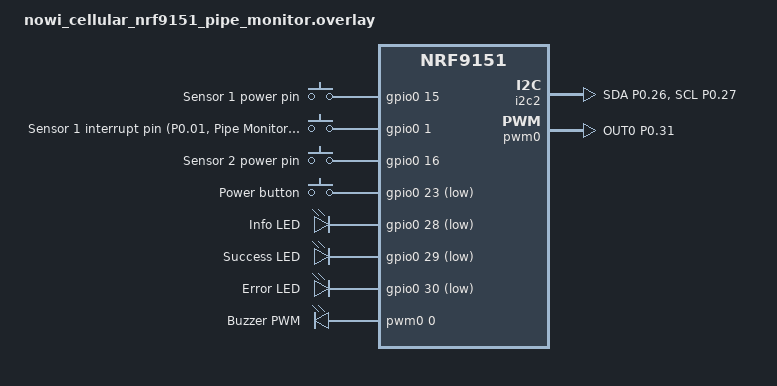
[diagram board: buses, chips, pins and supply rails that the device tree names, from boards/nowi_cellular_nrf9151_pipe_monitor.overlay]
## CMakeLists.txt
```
#
# Copyright (c) NOWi Sensors LLC 2024s
##

cmake_minimum_required(VERSION 3.20.0)

if (WIN32)
  set(CMAKE_OBJECT_PATH_MAX 260)
endif ()

find_package(Zephyr REQUIRED HINTS $ENV{ZEPHYR_BASE})
project(cell_monitor)

if(CONFIG_ALGORITHM_LOGGING)
else()
    add_definitions(-DDISABLE_LOGGING)
endif()

# NORDIC SDK APP START
zephyr_include_directories(boards)
zephyr_include_directories(src/cloud)
zephyr_include_directories(src/wdt)
zephyr_include_directories(src/buzzer)
zephyr_include_directories(src/twi)
zephyr_include_directories(src/led)
zephyr_include_directories(src/algorithm)
zephyr_include_directories(src/utils)
zephyr_include_directories(src/algorithm/building-monitor-algorithm/algorithm)
zephyr_include_directories(src/algorithm/building-monitor-algorithm/algorithm/utilities)
zephyr_include_directories(src/algorithm/building-monitor-algorithm/drivers)
zephyr_include_directories(src/algorithm/building-monitor-algorithm/drivers/lis2mdl)
zephyr_include_directories(src/algorithm/building-monitor-algorithm/filters)
zephyr_include_directories(src/algorithm/building-monitor-algorithm/interfaces)

if(CONFIG_ADD_CLAIM_CERTIFICATES)
    zephyr_include_directories(certs)
endif()

if(CONFIG_PROVISIONING)
    zephyr_include_directories(src/at_handler)
endif()

target_sources(app PRIVATE src/main.c)
target_sources(app PRIVATE src/led/led_manager.c)
target_sources(app PRIVATE src/button_manager.c)
target_sources(app PRIVATE src/cloud/cloud.c)
target_sources(app PRIVATE src/cloud/codec.c)
target_sources(app PRIVATE src/wdt/wdt.c)
target_sources(app PRIVATE src/buzzer/buzzer.c)
target_sources(app PRIVATE src/interaction_manager.c)

target_sources(app PRIVATE src/twi/twi_driver.c)
target_sources(app PRIVATE src/algorithm/app.c)
target_sources(app PRIVATE src/algorithm/hw.c)
target_sources(app PRIVATE src/algorithm/flash_utility.c)
target_sources(app PRIVATE src/algorithm/error_handler.c)

target_sources(app PRIVATE src/algorithm/log_handler.c)
target_sources(app PRIVATE src/algorithm/building-monitor-algorithm/algorithm/utilities/axis_configuration_utility.c)
target_sources(app PRIVATE src/algorithm/building-monitor-algorithm/algorithm/utilities/communication_monitor.c)
target_sources(app PRIVATE src/algorithm/building-monitor-algorithm/algorithm/utilities/cycle_counter.c)
target_sources(app PRIVATE src/algorithm/building-monitor-algorithm/algorithm/utilities/lowest_flow_over_period_tracker.c)
target_sources(app PRIVATE src/algorithm/building-monitor-algorithm/algorithm/utilities/magnetometer_controller.c)
target_sources(app PRIVATE src/algorithm/building-monitor-algorithm/algorithm/utilities/noise_monitor.c)
target_sources(app PRIVATE src/algorithm/building-monitor-algorithm/algorithm/utilities/signal_history.c)
target_sources(app PRIVATE src/algorithm/building-monitor-algorithm/algorithm/utilities/timeServer.c)


# Add simulated or real magnetometer driver files based on config
if(CONFIG_SIMULATED_MAG)
    add_definitions(-DUSE_MAGNETOMETER -DSIMULATED_MAG)
    zephyr_include_directories(src/algorithm/building-monitor-algorithm/tests/mocked)
    zephyr_include_directories(src/algorithm/building-monitor-algorithm/tests/mocked/drivers)
    target_sources(app PRIVATE src/algorithm/building-monitor-algorithm/tests/mocked/drivers/magnetometer.c)
    target_sources(app PRIVATE src/algorithm/building-monitor-algorithm/tests/mocked/drivers/simulated_MAG_driver_HL.c)
    target_sources(app PRIVATE src/algorithm/building-monitor-algorithm/tests/mocked/signal.c)
    target_sources(app PRIVATE src/algorithm/building-monitor-algorithm/tests/mocked/hw_gpio.c)
else()
    add_definitions(-DUSE_MAGNETOMETER -DLIS2MDL)
    target_sources(app PRIVATE src/algorithm/hw_gpio.c)
    target_sources(app PRIVATE src/algorithm/magnetometer.c)
    target_sources(app PRIVATE src/algorithm/building-monitor-algorithm/drivers/lis2mdl/LIS2MDL_MAG_driver.c)
    target_sources(app PRIVATE src/algorithm/building-monitor-algorithm/drivers/lis2mdl/LIS2MDL_MAG_driver_HL.c)    
endif()

target_sources(app PRIVATE src/algorithm/building-monitor-algorithm/filters/so_hpf.c)

# Always add pulse tracker and sensus protocol algorithms
target_sources(app PRIVATE src/algorithm/building-monitor-algorithm/algorithm/pulse_tracker.c)
target_sources(app PRIVATE src/algorithm/building-monitor-algorithm/algorithm/sensus_protocol_app.c)

if(CONFIG_ALGORITHM STREQUAL "LOGGER")
    add_definitions(-DDALGORITHM_LOGGER)
    target_sources(app PRIVATE src/algorithm/building-monitor-algorithm/algorithm/logger_algorithm.c)
elseif(CONFIG_ALGORITHM STREQUAL "MIN_MAX")
    add_definitions(-DALGORITHM_MIN_MAX)
    target_sources(app PRIVATE src/algorithm/building-monitor-algorithm/algorithm/cycle_tracker.c)
elseif(CONFIG_ALGORITHM STREQUAL "ALGORITHM_DO_NOTHING")
    add_definitions(-DALGORITHM_DO_NOTHING)
    target_sources(app PRIVATE src/algorithm/building-monitor-algorithm/algorithm/do_nothing_algorithm.c)
else()
    add_definitions(-DALGORITHM_FOLLOWER)
    target_sources(app PRIVATE src/algorithm/building-monitor-algorithm/algorithm/follower_algorithm.c)
endif()


# Note that here, we're adding CMAKE_SOURCE_DIR to the include path for nanopb.
# This is needed because the below call to nanopb_generate_cpp() is using
# 'RELPATH .'
#set(NANOPB_OPTIONS "-I${CMAKE_SOURCE_DIR}")
#nanopb_generate_cpp(proto_sources proto_headers RELPATH .
#    src/protobuf/msg.proto
#)
# we need to be able to include generated header files
###zephyr_library_include_directories(${CMAKE_CURRENT_BINARY_DIR})

list(APPEND CMAKE_MODULE_PATH ${ZEPHYR_BASE}/modules/nanopb)
include(nanopb)

zephyr_nanopb_sources(app src/protobuf/msg.proto)

FILE(GLOB app_sources src/*.c)
target_sources(app PRIVATE ${app_sources})

# NORDIC SDK APP END

zephyr_include_directories(src)
```

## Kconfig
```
#
# Copyright (c) 2020 Nordic Semiconductor ASA
#
# SPDX-License-Identifier: LicenseRef-Nordic-5-Clause
#

source "Kconfig.zephyr"

menu "cell building monitor"

config APP_VERSION
	string "Application version"
	default "v0.0.0"

config ALGORITHM
	string "The algorithm to use MIN_MAX, LOGGER, PULSE_TRACKER"
	default "FOLLOWER"

config ALGORITHM_LOGGING
	bool "Enable algorithm logging"
	default n

config USE_MAGNETOMETER
	bool "Use magnetometer instead of pulse counter to read a water meter"
	default y

config SEND_LOWEST_DATA
	bool "Send lowest data to cloud, such as low data period and rate, it's not very helpful in minute by minute data"
	default n

config AWS_IOT_APP_CONNECTION_RETRY_TIMEOUT_SECONDS
	int "Number of seconds between each AWS IoT connection retry"
	default 30

config AWS_IOT_APP_DEVICE_ID_USE_HW_ID
	bool "Use HW ID as device ID"
	select HW_ID_LIBRARY
	help
	  Use the devices's hardware ID as device ID when connecting to AWS IOT

config WDT_MAX_WINDOW_MS
	int "Watchdog maximum window in milliseconds"
	default 100000

config WDT_MIN_WINDOW_MS
	int "Watchdog minimum window in milliseconds"
	default 0

config MIN_UPLOAD_DUTY_CYCLE_SECONDS
	int "Minimum upload duty cycle in seconds"
	default 60

config DEFAULT_UPLOAD_DUTY_CYCLE_SECONDS
	int "default upload duty cycle in seconds"
	default 60

config MIN_APP_DUTY_CYCLE_SECONDS
	int "Minimum app duty cycle in seconds"
	default 60

config MAX_PACKETS_PER_UPLINK_MESSAGE
	int "Maximum packets per uplink message"
	default 60
	help
		At 120 Encoding failed: stream full

config MAX_ALERTS_PER_UPLINK_MESSAGE
	int "Maximum alerts per uplink message"
	default 11

config ALERT_MSG_MAX_SIZE
	int "Alert packet data array maximum size, Maximum 4 int16_t values can fit in int64_t"
	default 4

config FW_ID_LEN
	int "Firmware ID length"
	default 16

config MAX_DEV_ID_LEN
	int "Maximum device ID length"
	default 20

config PROVIS_REQUEST_RETRY_TIMEOUT_SECONDS
	int "Provisioning request send retry timeout in seconds"
	default 60

config RECONNECTION_TIMER_TIMEOUT_MINUTES
	int "Connection timer in minutes before it forces a reconnect, should be less than CONNECTION_TIMER_TIMEOUT_HOURS"
	default 360

config CONNECTION_TIMER_TIMEOUT_HOURS
	int "Connection timer timemout in hours before reboot"
	default 24

config TESTING_DISABLE_MODEM
	bool "Disable modem for testing witout it, this should never be used for production"
	default n

config ENABLE_TWI_SCAN
	bool "Enable TWI scan"
	default n

config APP_LOG_LEVEL
	int "Application log level"
	default 3
	help
	  0 - off
	  1 - error
	  2 - warning
	  3 - info
	  4 - debug

config ADD_CLAIM_CERTIFICATES
	bool "Add default claim certificates, only used for initial commissioning"
	default n

config SIMULATED_MAG
	bool "Use simulated magnetometer instead of real hardware"
	depends on USE_MAGNETOMETER
	default n
	help
	  Enable this to use a simulated magnetometer for testing purposes

config PROVISIONING
	bool "Enable provisioning"
	default n
	help
	  Enable this to enable provisioning

config PIPE_MONITOR_BOARD
	bool "Pipe monitor board"
	default n
	help
	  Enable this to use a pipe monitor board. Forces use of pulse tracker algorithm.

endmenu
```

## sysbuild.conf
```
# Enable MCUboot bootloader for FOTA support
SB_CONFIG_BOOTLOADER_MCUBOOT=y

# Optional: Enable secure boot when ready for production
# SB_CONFIG_SECURE_BOOT=y
# SB_CONFIG_SB_SIGNING_KEY_FILE="keys/nsib-prod-ec256.pem"
```

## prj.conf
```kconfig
#
# Copyright (c) 2020 Nordic Semiconductor ASA
#
# SPDX-License-Identifier: LicenseRef-Nordic-5-Clause

CONFIG_APP_VERSION="v3.1.0"
# CONFIG_ALGORITHM="FOLLOWER"

# AT Host
CONFIG_UART_INTERRUPT_DRIVEN=y 
CONFIG_AT_HOST_LIBRARY=y

# Log
CONFIG_LOG=y
CONFIG_SERIAL=y
CONFIG_CONSOLE=y
CONFIG_UART_CONSOLE=y
CONFIG_LOG_MODE_IMMEDIATE=y

# NEWLIB C
CONFIG_NEWLIB_LIBC=y
CONFIG_NEWLIB_LIBC_FLOAT_PRINTF=y
CONFIG_STDOUT_CONSOLE=y
CONFIG_CBPRINTF_FP_SUPPORT=y

# Network
CONFIG_NETWORKING=y
CONFIG_NET_NATIVE=n

# LTE link control
CONFIG_LTE_LINK_CONTROL=y
CONFIG_LTE_NETWORK_MODE_LTE_M=y
# Enable PSM and eDRX modules (required for NCS 3.0+)
CONFIG_LTE_LC_PSM_MODULE=y
CONFIG_LTE_LC_EDRX_MODULE=y
## Power saving timers.
# https://www.etsi.org/deliver/etsi_ts/127000_127099/127007/15.02.00_60/ts_127007v150200p.pdf page 102, 7.38 Power saving mode setting +CPSMS 
### 320 hours PSM. https://www.etsi.org/deliver/etsi_ts/124000_124099/124008/13.07.00_60/ts_124008v130700p.pdf  page 669, 10.5.7.4a GPRS Timer 3 
CONFIG_LTE_PSM_REQ=y
CONFIG_LTE_PSM_REQ_RPTAU="11000001"
### 20 seconds active time. https://www.etsi.org/deliver/etsi_ts/124000_124099/124008/13.07.00_60/ts_124008v130700p.pdf page 668, 10.5.7.3 GPRS Timer
CONFIG_LTE_PSM_REQ_RAT="00001010"
# The network seem to accept them too.
#+CEREG: <stat>[,[<tac>],[<ci>],[<AcT>][,[<cause_type>],[<reject_cause>][,[<Active-Time>],[<Periodic-TAU-ext>]]]] (https://infocenter.nordicsemi.com/index.jsp?topic=%2Fref_at_commands%2FREF%2Fat_commands%2Fnw_service%2Fcereg_read.html)
#+CEREG: 5,"800D","07530B0F",7,,,"00001010","11000001"
#[00:00:04.349,639] <inf> cloud: Network registration status: Connected - roaming
#[00:00:04.358,123] <inf> cloud: PSM parameter update: TAU: 1152000, Active time: 20
# Proprietary PSM request. only works with firmware < v2.0.0. Only works if PSM_REQ is also enabled. Works if normal PSM isn't enabled by the network.
# REMOVED for NCS 3.1.0: Proprietary PSM deprecated for modem firmware >= 2.0.0
# CONFIG_LTE_PROPRIETARY_PSM_REQ=y

# eDRX can reduce power consumption when PSM is disabled by the network
CONFIG_LTE_EDRX_REQ=y

# Modem library
# Modem driver
CONFIG_MODEM=y
CONFIG_NRF_MODEM_LIB=y
CONFIG_MODEM_KEY_MGMT=y

# AWS IoT library
CONFIG_AWS_IOT=y
CONFIG_AWS_IOT_APP_DEVICE_ID_USE_HW_ID=y
CONFIG_AWS_IOT_BROKER_HOST_NAME="a3tqlxqi8kjz1z-ats.iot.us-east-1.amazonaws.com"
CONFIG_MQTT_HELPER_SEC_TAG=204
CONFIG_AWS_FOTA_DOWNLOAD_SECURITY_TAG=204
# Request the shadow upon a connection to AWS. Sends a shadow request every time which is not needed
# CONFIG_AWS_IOT_AUTO_DEVICE_SHADOW_REQUEST=y 
CONFIG_AWS_IOT_TOPIC_UPDATE_DELTA_SUBSCRIBE=y
CONFIG_MQTT_HELPER_LAST_WILL=y
CONFIG_AWS_IOT_TOPIC_GET_ACCEPTED_SUBSCRIBE=n
CONFIG_AWS_IOT_TOPIC_GET_REJECTED_SUBSCRIBE=n
CONFIG_MQTT_HELPER_RX_TX_BUFFER_SIZE=2048
CONFIG_AWS_IOT_LOG_LEVEL_OFF=y
# Default is 30 second but it blocks the algorithm 
CONFIG_AWS_IOT_CONNECT_TIMEOUT_SECONDS=30

# MQTT - Maximum MQTT keep alive timeout specified by AWS IoT Core is 1200 anything higher just disconnects
CONFIG_MQTT_KEEPALIVE=1200
# Do not clean session, so the device gets the downlinks after a reconnect
CONFIG_MQTT_CLEAN_SESSION=n

# Date Time library
CONFIG_DATE_TIME=y

# Modem information
CONFIG_MODEM_INFO=y
CONFIG_BUILD_WITH_TFM=y

# MCUBOOT
CONFIG_BOOTLOADER_MCUBOOT=y
CONFIG_MCUBOOT_IMG_MANAGER=y

# Image manager
CONFIG_IMG_MANAGER=y
CONFIG_STREAM_FLASH=y
CONFIG_FLASH_MAP=y
CONFIG_FLASH=y
CONFIG_IMG_ERASE_PROGRESSIVELY=y

# AWS FOTA
CONFIG_AWS_FOTA=y
CONFIG_FOTA_DOWNLOAD=y
CONFIG_DFU_TARGET=y

# CJSON
CONFIG_CJSON_LIB=y

# ProtoBuf
CONFIG_NANOPB=y

# Download client (needed by AWS FOTA)
# NCS 3.0+ uses DOWNLOADER instead of deprecated DOWNLOAD_CLIENT
CONFIG_DOWNLOADER=y
# CONFIG_DOWNLOAD_CLIENT is deprecated in NCS 3.0+
# CONFIG_DOWNLOAD_CLIENT=n
# CONFIG_DOWNLOAD_CLIENT_STACK_SIZE=4096

# SENSOR
CONFIG_I2C=y
CONFIG_I2C_LOG_LEVEL_OFF=y
# BUZZER
CONFIG_PWM=y

# PM
CONFIG_PM_DEVICE=y

# WDT
CONFIG_WATCHDOG=y
CONFIG_WDT_DISABLE_AT_BOOT=y
CONFIG_WDT_LOG_LEVEL_OFF=y

# NVS
CONFIG_NVS=y
CONFIG_FLASH_PAGE_LAYOUT=y
CONFIG_MPU_ALLOW_FLASH_WRITE=y
CONFIG_NVS_LOG_LEVEL_OFF=y

# Settings backend - NCS 3.0+ uses NVS directly instead of ZMS legacy
# Using NVS as the settings backend
CONFIG_SETTINGS=y
CONFIG_SETTINGS_NVS=y

# Disabling unused peripherals
CONFIG_SPI=n
CONFIG_ADC=n

# Heap and stacks
CONFIG_HEAP_MEM_POOL_SIZE=65536
CONFIG_MAIN_STACK_SIZE=32768

# increased 2560 -> 5120 because we were at about 90% usage
CONFIG_MQTT_HELPER_STACK_SIZE=5120
# increased 2048 -> 3000 -> 10000 because it overflows (now at ~60%)
CONFIG_SYSTEM_WORKQUEUE_STACK_SIZE=10000
CONFIG_AT_MONITOR_HEAP_SIZE=1024
# increase because we were over 90% usage
CONFIG_DATE_TIME_THREAD_STACK_SIZE=2000

CONFIG_NCS_SAMPLES_DEFAULTS=y
```

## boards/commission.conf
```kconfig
CONFIG_ALGORITHM="ALGORITHM_DO_NOTHING"
CONFIG_ADD_CLAIM_CERTIFICATES=y

CONFIG_PROVISIONING=y
# Enable custom AT commands to set device ID and provisioning state
CONFIG_AT_CMD_CUSTOM=y

# Log
CONFIG_LOG=y
# Set log level to info
CONFIG_LOG_DEFAULT_LEVEL=3
CONFIG_CONSOLE=y
CONFIG_SERIAL=y
CONFIG_UART_CONSOLE=y
CONFIG_ALGORITHM_LOGGING=n
CONFIG_AWS_IOT_LOG_LEVEL_DBG=n
CONFIG_MQTT_HELPER_LOG_LEVEL_DBG=n

# AT Host
CONFIG_UART_INTERRUPT_DRIVEN=y
CONFIG_AT_HOST_LIBRARY=y
```

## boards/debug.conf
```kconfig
# Log
CONFIG_LOG=y
CONFIG_LOG_DEFAULT_LEVEL=3
CONFIG_CONSOLE=y
CONFIG_SERIAL=y
CONFIG_UART_CONSOLE=y
CONFIG_ALGORITHM_LOGGING=y
CONFIG_AWS_IOT_LOG_LEVEL_DBG=y
CONFIG_MQTT_HELPER_LOG_LEVEL_DBG=y

CONFIG_AT_CMD_CUSTOM=y
CONFIG_TESTING_DISABLE_MODEM=n

# AT Host
CONFIG_UART_INTERRUPT_DRIVEN=y
CONFIG_AT_HOST_LIBRARY=y

# Debug
CONFIG_ASSERT=y
CONFIG_ASSERT_VERBOSE=y
CONFIG_RESET_ON_FATAL_ERROR=n
CONFIG_REBOOT=y

# if we want to 
# CONFIG_DEBUG=y
# CONFIG_WDT_LOG_LEVEL_OFF=n

# Thread analyzer
CONFIG_THREAD_NAME=y
# CONFIG_THREAD_ANALYZER=y
# CONFIG_THREAD_ANALYZER_AUTO=y
# CONFIG_THREAD_ANALYZER_USE_LOG=y
# CONFIG_THREAD_ANALYZER_AUTO_INTERVAL=30

# CONFIG_NRF_MODEM_LIB_TRACE=y

CONFIG_MODEM_BATTERY=y
CONFIG_MODEM_BATTERY_LOG_LEVEL_DBG=y
CONFIG_MODEM_BATTERY_POFWARN_3000=y
CONFIG_MODEM_BATTERY_LOW_LEVEL=3100
```

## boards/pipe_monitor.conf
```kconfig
# Pipe Monitor (Pulse Monitor) specific config
CONFIG_PIPE_MONITOR_BOARD=y

# System features
CONFIG_REBOOT=y

# No need for power saving when connected to an outlet
CONFIG_LTE_PSM_REQ=n
CONFIG_LTE_PROPRIETARY_PSM_REQ=n
CONFIG_LTE_EDRX_REQ=n

# # Disable FOTA/MCUboot for pipe monitor builds (no secondary partition)
# CONFIG_BOOTLOADER_MCUBOOT=n
# CONFIG_AWS_FOTA=n
# CONFIG_FOTA_DOWNLOAD=n
# CONFIG_DFU_TARGET=n
# CONFIG_MCUBOOT_IMG_MANAGER=n
# CONFIG_IMG_MANAGER=n
# CONFIG_STREAM_FLASH=n
# CONFIG_IMG_ERASE_PROGRESSIVELY=n
# CONFIG_FLASH_MAP=n

# Enable FOTA/MCUboot for OTA updates
CONFIG_BOOTLOADER_MCUBOOT=y
CONFIG_AWS_FOTA=y
CONFIG_FOTA_DOWNLOAD=y
CONFIG_DFU_TARGET=y
CONFIG_DFU_TARGET_MCUBOOT=y
CONFIG_MCUBOOT_IMG_MANAGER=y
CONFIG_IMG_MANAGER=y
CONFIG_STREAM_FLASH=y
CONFIG_IMG_ERASE_PROGRESSIVELY=y
CONFIG_FLASH_MAP=y
CONFIG_DOWNLOADER=y
```

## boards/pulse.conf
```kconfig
CONFIG_ALGORITHM="PULSE_TRACKER"
CONFIG_USE_MAGNETOMETER=n
```

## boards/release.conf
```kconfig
# Log
CONFIG_LOG=n
CONFIG_SERIAL=n
CONFIG_CONSOLE=n
CONFIG_RTT_CONSOLE=n
CONFIG_USE_SEGGER_RTT=n

# AT Host
CONFIG_UART_INTERRUPT_DRIVEN=n
CONFIG_AT_HOST_LIBRARY=n 
```

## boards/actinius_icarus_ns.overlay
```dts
&sim_select {
    sim = "external";
};

&lis2dh12_accel {
	status = "disabled";
};

&pinctrl {

	pwmbuzz {
		compatible = "pwm-leds";
		buzzpwm: buzz_pwm {
			pwms = <&pwm0 0 PWM_USEC(100U) PWM_POLARITY_NORMAL>;
		};
	};

	pwm0_buzz_default: pwm0_buzz_default {
		group1 {
			psels = <NRF_PSEL(PWM_OUT0, 0, 5)>;
			//nordic,invert;
		};
	};

	pwm0_buzz_sleep: pwm0_buzz_sleep {
		group1 {
			psels = <NRF_PSEL(PWM_OUT0, 0, 5)>;
			low-power-enable;
		};
	};

	i2c1_default_alt: i2c1_default_alt {
		group1 {
			nordic,drive-mode = <NRF_DRIVE_H0H1>;
			psels = <NRF_PSEL(TWIM_SDA, 0, 26)>,
					<NRF_PSEL(TWIM_SCL, 0, 27)>;
		};
	};

	i2c1_sleep_alt: i2c1_sleep_alt {
		group1 {
			nordic,drive-mode = <NRF_DRIVE_H0H1>;
			psels = <NRF_PSEL(TWIM_SDA, 0, 26)>,
					<NRF_PSEL(TWIM_SCL, 0, 27)>;
			low-power-enable;
		};
	};

	i2c2_default_alt: i2c2_default_alt {
		group1 {
			nordic,drive-mode = <NRF_DRIVE_H0H1>;
			psels = <NRF_PSEL(TWIM_SDA, 0, 30)>,
					<NRF_PSEL(TWIM_SCL, 0, 31)>;
		};
	};

	i2c2_sleep_alt: i2c2_sleep_alt {
		group1 {
			nordic,drive-mode = <NRF_DRIVE_H0H1>;
			psels = <NRF_PSEL(TWIM_SDA, 0, 30)>,
					<NRF_PSEL(TWIM_SCL, 0, 31)>;
			low-power-enable;
		};
	};
};

buzz_pwm_inst: &pwm0 {
	status = "okay";
	pinctrl-0 = <&pwm0_buzz_default>;
	pinctrl-1 = <&pwm0_buzz_sleep>;
	pinctrl-names = "default", "sleep";
};

mag1: &i2c1 {
	status = "okay";
	compatible = "nordic,nrf-twim";
	pinctrl-0 = <&i2c1_default_alt>;
	pinctrl-1 = <&i2c1_sleep_alt>;
	pinctrl-names = "default", "sleep";
    clock-frequency = < I2C_BITRATE_FAST >;
};

mag2: &i2c2 {
	status = "okay";
	compatible = "nordic,nrf-twim";
	pinctrl-0 = <&i2c2_default_alt>;
	pinctrl-1 = <&i2c2_sleep_alt>;
	pinctrl-names = "default", "sleep";
    clock-frequency = < I2C_BITRATE_FAST >;
};

/ {
	magnetometer {
		compatible = "gpio-keys";
		magpower: mag_power {
			gpios = <&gpio0 0 (GPIO_ACTIVE_HIGH)>;
			label = "sensor 1 power pin";
		};
		magint: mag_int {
			gpios = <&gpio0 2 (GPIO_ACTIVE_HIGH)>;
			label = "sensor 1 interrupt pin";
		};

		mag2power: mag2_power {
			gpios = <&gpio0 4 (GPIO_ACTIVE_HIGH)>;
			label = "sensor 2 power pin";
		};

		mag2int: mag2_int {
			gpios = <&gpio0 3 (GPIO_ACTIVE_HIGH)>;
			label = "sensor 2 interrupt pin";
		};
	};
	aliases {
		successled = &green_led;
		infoled = &blue_led;
		errorled = &red_led;
	};
	buttons {
		compatible = "gpio-keys";
		power_button: button_0 {
			gpios = <&gpio0 14 (GPIO_PULL_UP | GPIO_ACTIVE_LOW)>;
			label = "Power Button";
		};
	};
};

&uart1_default {
    group1 {
        psels = <NRF_PSEL(UART_TX, 0, 23)>;
    };
};

&uart1_default {
    group1 {
        psels = <NRF_PSEL(UART_TX, 0, 24)>;
    };
};

&uart1_default {
    group1 {
        psels = <NRF_PSEL(UART_TX, 0, 24)>, <NRF_PSEL(UART_RX, 0, 23)>;
    };
};

&uart1_default {
    group1 {
        psels = <NRF_PSEL(UART_TX, 0, 24)>;
    };
};

&uart1_default {
    group1 {
        psels = <NRF_PSEL(UART_TX, 0, 0)>;
    };
};

&uart1_default {
    group1 {
        psels = <NRF_PSEL(UART_TX, 0, 0)>, <NRF_PSEL(UART_RX, 0, 1)>;
    };
};
&uart0_default {
    group1 {
        psels = <NRF_PSEL(UART_TX, 0, 24)>, <NRF_PSEL(UART_RX, 0, 23)>;
        low-power-enable;
    };
};

&uart0_default {
    group1 {
        psels = <NRF_PSEL(UART_TX, 0, 24)>, <NRF_PSEL(UART_RX, 0, 23)>;
        /delete-property/ low-power-enable;
    };
};
```

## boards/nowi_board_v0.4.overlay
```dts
/{
  magnetometer {
		compatible = "gpio-keys";
		magpower: mag_power {
			gpios = <&gpio0 15 (GPIO_ACTIVE_HIGH)>;
			label = "Sensor 1 power pin";
		};
        mag2power: mag2_power {
			gpios = <&gpio0 16 (GPIO_ACTIVE_HIGH)>;
			label = "Sensor 2 power pin";
		};
	};
};
```

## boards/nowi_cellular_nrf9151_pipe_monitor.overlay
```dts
/ {
    magnetometer {
        compatible = "gpio-keys";
        magpower: mag_power {
            gpios = <&gpio0 15 (GPIO_ACTIVE_HIGH)>;
            label = "Sensor 1 power pin";
        };
        magint: mag_int {
            gpios = <&gpio0 1 (GPIO_ACTIVE_HIGH)>;
            label = "Sensor 1 interrupt pin (P0.01, Pipe Monitor). Used to be P0.02 for Building Monitor";
        };
        mag2power: mag2_power {
            gpios = <&gpio0 16 (GPIO_ACTIVE_HIGH)>;
            label = "Sensor 2 power pin";
        };
    };

    buttons {
        compatible = "gpio-keys";
        powerbutton: button_0 {
            gpios = <&gpio0 23 (GPIO_PULL_UP | GPIO_ACTIVE_LOW)>;
            label = "Power button";
        };
    };

    leds {
        compatible = "gpio-leds";
        led_info: led_0 {
            gpios = <&gpio0 28 GPIO_ACTIVE_LOW>;
            label = "Info LED";
        };
        led_success: led_1 {
            gpios = <&gpio0 29 GPIO_ACTIVE_LOW>;
            label = "Success LED";
        };
        led_error: led_2 {
            gpios = <&gpio0 30 GPIO_ACTIVE_LOW>;
            label = "Error LED";
        };
    };

    pwmleds {
        compatible = "pwm-leds";
        buzzpwm: pwm_led_0 {
            pwms = <&pwm0 0 PWM_MSEC(20) PWM_POLARITY_NORMAL>;
            label = "Buzzer PWM";
        };
    };

    aliases {
        power-button = &powerbutton;
        infoled = &led_info;
        successled = &led_success;
        errorled = &led_error;
        buzzpwm = &buzzpwm;
    };
};

mag1: &i2c2 {
    compatible = "nordic,nrf-twim";
    status = "okay";
    pinctrl-0 = <&i2c2_default>;
    pinctrl-1 = <&i2c2_sleep>;
    pinctrl-names = "default", "sleep";
};

&pinctrl {
    i2c2_default: i2c2_default {
        group1 {
            psels = <NRF_PSEL(TWIM_SDA, 0, 26)>,
                    <NRF_PSEL(TWIM_SCL, 0, 27)>;
        };
    };

    i2c2_sleep: i2c2_sleep {
        group1 {
            psels = <NRF_PSEL(TWIM_SDA, 0, 26)>,
                    <NRF_PSEL(TWIM_SCL, 0, 27)>;
            low-power-enable;
        };
    };

    pwm0_default: pwm0_default {
        group1 {
            psels = <NRF_PSEL(PWM_OUT0, 0, 31)>;
        };
    };

    pwm0_sleep: pwm0_sleep {
        group1 {
            psels = <NRF_PSEL(PWM_OUT0, 0, 31)>;
            low-power-enable;
        };
    };
};

&pwm0 {
    status = "okay";
    pinctrl-0 = <&pwm0_default>;
    pinctrl-1 = <&pwm0_sleep>;
    pinctrl-names = "default", "sleep";
}; 
```

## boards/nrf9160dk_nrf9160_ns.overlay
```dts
&pinctrl {

	pwmbuzz {
		compatible = "pwm-leds";
		buzzpwm: buzz_pwm {
			pwms = <&pwm0 0 PWM_HZ(880) PWM_POLARITY_NORMAL>;
		};
	};

	pwm0_buzz_default: pwm0_buzz_default {
		group1 {
			psels = <NRF_PSEL(PWM_OUT0, 0, 5)>;
			//nordic,invert;
		};
	};

	pwm0_buzz_sleep: pwm0_buzz_sleep {
		group1 {
			psels = <NRF_PSEL(PWM_OUT0, 0, 5)>;
			low-power-enable;
		};
	};

	i2c2_default_alt: i2c2_default_alt {
		group1 {
			nordic,drive-mode = <NRF_DRIVE_H0H1>;
			psels = <NRF_PSEL(TWIM_SDA, 0, 30)>,
					<NRF_PSEL(TWIM_SCL, 0, 31)>;
		};
	};

	i2c2_sleep_alt: i2c2_sleep_alt {
		group1 {
			nordic,drive-mode = <NRF_DRIVE_H0H1>;
			psels = <NRF_PSEL(TWIM_SDA, 0, 30)>,
					<NRF_PSEL(TWIM_SCL, 0, 31)>;
			low-power-enable;
		};
	};

	i2c1_default_alt: i2c1_default_alt {
		group1 {
			nordic,drive-mode = <NRF_DRIVE_H0H1>;
			psels = <NRF_PSEL(TWIM_SDA, 0, 26)>,
					<NRF_PSEL(TWIM_SCL, 0, 27)>;
		};
	};

	i2c1_sleep_alt: i2c1_sleep_alt {
		group1 {
			nordic,drive-mode = <NRF_DRIVE_H0H1>;
			psels = <NRF_PSEL(TWIM_SDA, 0, 27)>,
					<NRF_PSEL(TWIM_SCL, 0, 27)>;
			low-power-enable;
		};
	};
};

buzz_pwm_inst: &pwm0 {
	status = "okay";
	pinctrl-0 = <&pwm0_buzz_default>;
	pinctrl-1 = <&pwm0_buzz_sleep>;
	pinctrl-names = "default", "sleep";
};

mag2: &i2c2 {
	status = "disabled";
	compatible = "nordic,nrf-twim";
	pinctrl-0 = <&i2c2_default_alt>;
	pinctrl-1 = <&i2c2_sleep_alt>;
	pinctrl-names = "default", "sleep";
    clock-frequency = < I2C_BITRATE_FAST >;
};

mag1: &i2c3 {
	status = "okay";
	compatible = "nordic,nrf-twim";
	pinctrl-0 = <&i2c1_default_alt>;
	pinctrl-1 = <&i2c1_sleep_alt>;
	pinctrl-names = "default", "sleep";
    clock-frequency = < I2C_BITRATE_FAST >;
};

/ {
	magnetometer {
		compatible = "gpio-keys";
		magpower: mag_power {
			gpios = <&gpio0 0 (GPIO_ACTIVE_HIGH)>;
			label = "lis2mdl power pin";
		};
		magint: mag_int {
			gpios = <&gpio0 1 (GPIO_ACTIVE_HIGH)>;
			label = "lis2mdl int pin";
		};
		mag2power: mag2_power {
			gpios = <&gpio0 4 (GPIO_ACTIVE_HIGH)>;
			label = "sensor 2 power pin";
		};

		mag2int: mag2_int {
			gpios = <&gpio0 3 (GPIO_ACTIVE_HIGH)>;
			label = "sensor 2 interrupt pin";
		};
	};
	
	buttons {
		compatible = "gpio-keys";
		power_button: button_0 {
			gpios = <&gpio0 14 (GPIO_PULL_UP | GPIO_ACTIVE_LOW)>;
			label = "Power Button";
		};
	};
	
	aliases {
		successled = &led0;
		infoled = &led1;
		errorled = &led2;
		buzzer = &buzzpwm;
		power-button = &power_button;
	};
};
```

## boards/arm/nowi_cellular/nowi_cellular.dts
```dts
// Copyright (c) 2024 Nordic Semiconductor ASA
// SPDX-License-Identifier: Apache-2.0

/dts-v1/;
#include <nordic/nrf9160_sica.dtsi>
#include "nowi_cellular_common.dts"

/ {
	chosen {
		zephyr,sram = &sram0_s;
		zephyr,flash = &flash0;
		zephyr,code-partition = &slot0_partition;
		zephyr,sram-secure-partition = &sram0_s;
		zephyr,sram-non-secure-partition = &sram0_ns;
	};
};
```

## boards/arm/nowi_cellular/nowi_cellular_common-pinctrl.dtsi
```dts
/*
 * Copyright (c) 2022 Nordic Semiconductor
 * SPDX-License-Identifier: Apache-2.0
 */

 &pinctrl {
	uart0_default: uart0_default {
		group1 {
			psels = <NRF_PSEL(UART_TX, 0, 24)>,
					<NRF_PSEL(UART_RX, 0, 23)>;
		};
	};

	uart0_sleep: uart0_sleep {
		group1 {
			psels = <NRF_PSEL(UART_TX, 0, 24)>,
					<NRF_PSEL(UART_RX, 0, 23)>;
			low-power-enable;
		};
	};
	
	i2c1_default: i2c1_default {
		group1 {
			nordic,drive-mode = <NRF_DRIVE_H0H1>;
			psels = <NRF_PSEL(TWIM_SDA, 0, 26)>,
					<NRF_PSEL(TWIM_SCL, 0, 27)>;
		};
	};

	i2c1_sleep: i2c1_sleep {
		group1 {
			nordic,drive-mode = <NRF_DRIVE_H0H1>;
			psels = <NRF_PSEL(TWIM_SDA, 0, 26)>,
					<NRF_PSEL(TWIM_SCL, 0, 27)>;
			low-power-enable;
		};
	};

	i2c2_default: i2c2_default {
		group1 {
			nordic,drive-mode = <NRF_DRIVE_H0H1>;
			psels = <NRF_PSEL(TWIM_SDA, 0, 30)>,
					<NRF_PSEL(TWIM_SCL, 0, 31)>;
		};
	};

	i2c2_sleep: i2c2_sleep {
		group1 {
			nordic,drive-mode = <NRF_DRIVE_H0H1>;
			psels = <NRF_PSEL(TWIM_SDA, 0, 30)>,
					<NRF_PSEL(TWIM_SCL, 0, 31)>;
			low-power-enable;
		};
	};

	pwmbuzz {
		compatible = "pwm-leds";
		buzzpwm: buzz_pwm {
			pwms = <&pwm0 0 PWM_USEC(100U) PWM_POLARITY_NORMAL>;
		};
	};

	pwm0_buzz_default: pwm0_buzz_default {
		group1 {
			psels = <NRF_PSEL(PWM_OUT0, 0, 5)>;
			//nordic,invert;
		};
	};

	pwm0_buzz_sleep: pwm0_buzz_sleep {
		group1 {
			psels = <NRF_PSEL(PWM_OUT0, 0, 5)>;
			low-power-enable;
		};
	};
};
```

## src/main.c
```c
#include <zephyr/kernel.h>
#include <zephyr/drivers/hwinfo.h>
#include <zephyr/sys/reboot.h>
#include <stdio.h>
#include <stdbool.h>
#include <stdlib.h>

#include "app.h"
#include "cloud.h"
#include "error_handler.h"
#include "hw_id.h"
#include "led_manager.h"
#include "twi_driver.h"
#include "flash_utility.h"
#include "button_manager.h"
#include "buzzer.h"
#include "codec.h"
#include "interaction_manager.h"

#include <zephyr/logging/log.h>
#ifdef CONFIG_SIMULATED_MAG
#include "signal.h"
#endif

#include "log_handler.h"

LOG_MODULE_REGISTER(main, CONFIG_APP_LOG_LEVEL);

struct app_info_t app_info = {0};
char device_id[CONFIG_MAX_DEV_ID_LEN] = {0};
uint32_t reset_cause = 0;
bool is_provisioned = false;
bool device_enabled = true;

void button_enabled_device(void)
{
	LOG_INF("button_enabled_device");
	if (FlashUtility_SaveDeviceState(true) == FlashStatus_Success)
	{
		LOG_INF("Device state saved successfully");
	}
	else
	{
		LOG_ERR("Failed to save device state");
	}
	// Reboot for a fresh start
	sys_reboot(0);
}

void button_disabled_device(void)
{
	LOG_INF("button_disabled_device");
	if (FlashUtility_SaveDeviceState(false) == FlashStatus_Success)
	{
		LOG_INF("Device state saved successfully");
	}
	else
	{
		LOG_ERR("Failed to save device state");
	}
	// Reboot for a fresh start
	sys_reboot(0);
}

void enable_device(void)
{
	LOG_INF("enable_device");
	int err = 0;
	interaction_manager_device_enabled();
#ifdef CONFIG_TESTING_DISABLE_MODEM
	err = cloud_stop();
	if (err)
	{
		LOG_ERR("cloud_stop() failed, err 0x%x \n", err);
	}
#else
	LOG_INF("cloud_start");
	err = cloud_start();
	if (err)
	{
		LOG_ERR("cloud_start() failed, err 0x%x \n", err);
		led_manager_led_on_for(LED_ERROR_CLOUD_FAILED_DURATION_MS, LED_ERROR);
		k_msleep(5000);
		sys_reboot(0);
	}
#endif
	LOG_INF("app_start");
	app_start();
	device_enabled = true;
	LOG_INF("FlashUtility_SaveDeviceState");
	FlashUtility_SaveDeviceState(true);
	LOG_INF("Device enabled");
}

void disable_device(void)
{
	LOG_INF("disable_device");
	interaction_manager_device_disabled();
	// Send the disabled state to the cloud before disconnecting
	int err = send_device_state_to_cloud(false);
	if (err == -ENOTCONN)
	{
		LOG_WRN("Device not connected to cloud. Proceeding with disable process.");
	}
	else if (err)
	{
		LOG_ERR("Failed to send disable status to cloud, err %d", err);
	}
	else
	{
		LOG_INF("Disable status sent to cloud successfully");
	}

	app_stop();
	err = cloud_stop();
	if (err)
	{
		LOG_ERR("cloud_stop() failed, err %d", err);
	}
	device_enabled = false;
	FlashUtility_SaveDeviceState(false);
	LOG_INF("Device disabled");
}

int main(void)
{
	int err = 0;
	LOG_INF("main started");

	err = hwinfo_get_reset_cause(&reset_cause);
	if (!err)
	{
		LOG_WRN("reset cause 0x%02x", reset_cause);
		app_info.reset_cause = reset_cause;
		Reset_Reason(reset_cause);
	}
	else
	{
		LOG_ERR("hwinfo_get_reset_cause failed, err %d", err);
		Reset_Reason(err);
	}
	hwinfo_clear_reset_cause();

	FlashUtility_init();
	log_handler_init(); // Depends on FlashUtility_init()
	twi_init();
	led_manager_init();
	interaction_manager_init();

	app_init();

	err = FlashUtility_LoadDeviceID(device_id, CONFIG_FW_ID_LEN);
	if (err != FlashStatus_Success)
	{

#ifdef CONFIG_PROVISIONING
		LOG_INF("Disabling device until commissioned with ID");
		app_stop();
		cloud_init(app_info);
		err = cloud_stop();
		led_manager_led_on_for(LED_ERROR_NOT_COMMISSIONED_DURATION_MS, LED_ERROR);
		if (err)
		{
			LOG_ERR("cloud_stop() failed, err %d", err);
			sys_reboot(0); // rebooting caused it to cycle if failed
		}
		return 0;
#endif

		LOG_ERR("FlashUtility_LoadDeviceID failed, err %d", err);

		// Trying to load hw ID for some older devices
		err = hw_id_get(device_id, HW_ID_LEN);
		if (err != 0)
		{
			LOG_ERR("hw_id_get failed, err %d", err);
			led_manager_led_on_for(LED_ERROR_HW_ID_GET_DURATION_MS, LED_ERROR);
			k_msleep(5000);
			sys_reboot(0);
		}
		else
		{
			LOG_INF("Device ID from hw: %s", device_id);
			memcpy(app_info.device_id_buf, device_id, HW_ID_LEN);
			app_info.device_id_len = HW_ID_LEN;
		}
	}
	else
	{
		LOG_INF("Device ID from flash: %s", device_id);
		memcpy(app_info.device_id_buf, device_id, CONFIG_FW_ID_LEN);
		app_info.device_id_len = CONFIG_FW_ID_LEN;
	}

	err = FlashUtility_GetProvisioning_State(&is_provisioned);
	switch (err)
	{
	case FlashStatus_Success:
		break;
	case FlashStatus_NoData:
		LOG_WRN("FlashUtility_GetProvisioning_State no data, defaulting to false");
		is_provisioned = false;
		break;
	case FlashStatus_Failure:
		LOG_ERR("FlashUtility_GetProvisioning_State failed, err %d", err);
		is_provisioned = false;
		break;
	}

	app_info.is_provisioned = is_provisioned;
	cloud_init(app_info);

	if (FlashUtility_LoadDeviceState(&device_enabled) == FlashStatus_Success)
	{
		LOG_INF("Loaded device state: %s", device_enabled ? "ON" : "OFF");
	}
	else
	{
		LOG_WRN("Failed to load device state, using default: ON");
	}

	if (device_enabled)
	{
		enable_device(); // Enable the device on startup if it was enabled when last powered off
	}
	else
	{
		LOG_INF("Device starting in disabled state");
		disable_device();
	}

	button_manager_init(button_enabled_device, button_disabled_device);

#ifdef CONFIG_SIMULATED_MAG
	printk("WARNING: Simulated MAG\n");

	Signal_Init(
			10.0f,	// noiseAmplitudeInput - moderate noise level
			15.0f,	// signalFrequencyInput - 1 Hz base frequency
			160.0f, // signalAmplitudeInput - base signal amplitude
			false,	// pulseEnableInput - start without pulse
			false,	// fluctuateNoiseInput - enable noise fluctuation
			false,	// popUp - disable pop-up events
			1.0f,		// xScaleInput - normal scale for X axis
			1.0f,		// yScaleInput - normal scale for Y axis
			1.0f,		// zScaleInput - normal scale for Z axis
			false		// _offsetBump - disable offset bumping
	);
#endif

	return 0;
}
```

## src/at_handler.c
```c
/*
 * Copyright (c) 2018 Nordic Semiconductor ASA
 *
 * SPDX-License-Identifier: LicenseRef-Nordic-5-Clause
 */

#include <zephyr/kernel.h>
#include "at_handler.h"
#include <stdio.h>
#include <string.h>
#include <modem/at_cmd_custom.h>
#include "building-monitor-algorithm/interfaces/flash_utility.h"
#include "app.h"
#include <zephyr/logging/log.h>
#include "log_handler.h"

LOG_MODULE_REGISTER(at_handler, CONFIG_APP_LOG_LEVEL);

#define ID_LEN 16

static int my_command_callback(char *buf, size_t len, char *at_cmd);
static int provisioned_callback(char *buf, size_t len, char *at_cmd);
static int pulse_callback(char *buf, size_t len, char *at_cmd);
static int devicetype_callback(char *buf, size_t len, char *at_cmd);
static int disable_callback(char *buf, size_t len, char *at_cmd);
static int logging_callback(char *buf, size_t len, char *at_cmd);

AT_CMD_CUSTOM(my_command_filter, "AT+DEVICEID", my_command_callback);
AT_CMD_CUSTOM(provisioned_command_filter, "AT+PROVISIONED", provisioned_callback);
AT_CMD_CUSTOM(pulse_command_filter, "AT+PULSE", pulse_callback);
AT_CMD_CUSTOM(devicetype_command_filter, "AT+DEVICETYPE", devicetype_callback);
AT_CMD_CUSTOM(disable_command_filter, "AT+DISABLE", disable_callback);
AT_CMD_CUSTOM(logging_command_filter, "AT+LOGGING", logging_callback);

static int my_command_callback(char *buf, size_t len, char *at_cmd)
{
	FlashStatus_t flash_status;
	LOG_INF("at_cmd=%s buf=%s len=%d strlen=%d \n", at_cmd, buf, len, strlen(buf));

	/* test */
	if (strncmp("AT+DEVICEID=?", at_cmd, strlen("AT+DEVICEID=?")) == 0)
	{
		char device_id_saved[ID_LEN];
		flash_status = FlashUtility_LoadDeviceID(device_id_saved, ID_LEN);
		if (flash_status == FlashStatus_Success)
		{
			LOG_INF("device_id_saved=%.*s \n", ID_LEN, device_id_saved);
		}
		else
		{
			LOG_ERR("FlashUtility_LoadDeviceID failed status=%d \n", flash_status);
		}

		return at_cmd_custom_respond(buf, len, "\r\nOK\r\n");
	}

	/* set */
	// AT+DEVICEID=<id>
	if (strncmp("AT+DEVICEID=", at_cmd, strlen("AT+DEVICEID=")) == 0)
	{
		// Get the device ID from the buf
		char *id = buf + strlen("AT+DEVICEID=");
		size_t id_size = strlen(buf) - strlen("AT+DEVICEID=");

		if (id_size > ID_LEN)
		{
			LOG_ERR("id_size=%d \n", id_size);
			return at_cmd_custom_respond(buf, len, "+CME ERROR: ID wrong size must be %d \r\n", 161);
		}

		printk("id=%.*s \n", id_size, id);

		flash_status = FlashUtility_SaveDeviceID(id, id_size);
		if (flash_status == FlashStatus_Success)
		{
			return at_cmd_custom_respond(buf, len, "OK\r\n");
		}
		else
		{
			LOG_ERR("FlashUtility_SaveDeviceID failed status=%d \n", flash_status);
			return at_cmd_custom_respond(buf, len, "ERROR\r\n");
		}
	}

	/* read */
	if (strncmp("AT+DEVICEID?", at_cmd, strlen("AT+DEVICEID?")) == 0)
	{
		return at_cmd_custom_respond(buf, len, "Set and read the device ID\r\n");
	}

	return -1;
}

static int provisioned_callback(char *buf, size_t len, char *at_cmd)
{
	FlashStatus_t flash_status;
	LOG_INF("at_cmd=%s buf=%s len=%d strlen=%d \n", at_cmd, buf, len, strlen(buf));
	bool provisioned = false;
	/* test */
	if (strncmp("AT+PROVISIONED=?", at_cmd, strlen("AT+PROVISIONED=?")) == 0)
	{
		flash_status = FlashUtility_GetProvisioning_State(&provisioned);
		if (flash_status == FlashStatus_Success)
		{
			LOG_INF("provisioned=%d \n", provisioned);
		}
		else
		{
			LOG_ERR("FlashUtility_GetProvisioning_State failed status=%d \n", flash_status);
		}

		return at_cmd_custom_respond(buf, len, "\r\nOK\r\n");
	}

	/* set */
	// AT+DEVICEID=<id>
	if (strncmp("AT+PROVISIONED=", at_cmd, strlen("AT+PROVISIONED=")) == 0)
	{
		// Get bool 0 or 1 from the buf
		if (strlen(buf) - strlen("AT+PROVISIONED=") != 1)
		{
			LOG_ERR("buf=%s \n", buf);
			return at_cmd_custom_respond(buf, len, "+CME ERROR: ID wrong size must be 1 \r\n");
		}
		else if (buf[strlen("AT+PROVISIONED=")] == '0')
		{
			provisioned = false;
		}
		else if (buf[strlen("AT+PROVISIONED=")] == '1')
		{
			provisioned = true;
		}
		else
		{
			LOG_ERR("buf=%s \n", buf);
			return at_cmd_custom_respond(buf, len, "+CME ERROR: ID wrong value must be 0 or 1 \r\n");
		}

		LOG_INF("provisioned=%d \n", provisioned);

		flash_status = FlashUtility_SetProvisioning_State(provisioned);
		if (flash_status == FlashStatus_Success)
		{
			return at_cmd_custom_respond(buf, len, "OK\r\n");
		}
		else
		{
			LOG_ERR("FlashUtility_SetProvisioning_State failed status=%d \n", flash_status);
			return at_cmd_custom_respond(buf, len, "ERROR\r\n");
		}
	}

	/* read */
	if (strncmp("AT+PROVISIONED?", at_cmd, strlen("AT+PROVISIONED?")) == 0)
	{
		return at_cmd_custom_respond(buf, len, "Set and read if the device is provisioned\r\n");
	}

	return -1;
}

static int pulse_callback(char *buf, size_t len, char *at_cmd)
{
	FlashStatus_t flash_status;
	LOG_INF("at_cmd=%s buf=%s len=%d strlen=%d \n", at_cmd, buf, len, strlen(buf));
	bool is_pulse_tracker = false;

	/* test */
	if (strncmp("AT+PULSE=?", at_cmd, strlen("AT+PULSE=?")) == 0)
	{
		device_type_t device_type;
		flash_status = FlashUtility_LoadDeviceType(&device_type);
		if (flash_status == FlashStatus_Success || flash_status == FlashStatus_NoData)
		{
			is_pulse_tracker = (device_type == DEVICE_TYPE_PULSE_TRACKER);
			LOG_INF("is_pulse_tracker=%d \n", is_pulse_tracker);
		}
		else
		{
			LOG_ERR("FlashUtility_LoadDeviceType failed status=%d \n", flash_status);
		}

		return at_cmd_custom_respond(buf, len, "\r\nOK\r\n");
	}

	/* set */
	if (strncmp("AT+PULSE=", at_cmd, strlen("AT+PULSE=")) == 0)
	{
		// Get y or n from the buf
		if (strlen(buf) - strlen("AT+PULSE=") != 1)
		{
			LOG_ERR("buf=%s \n", buf);
			return at_cmd_custom_respond(buf, len, "+CME ERROR: answer wrong size must be 1 \r\n");
		}
		else if (buf[strlen("AT+PULSE=")] == 'y' || buf[strlen("AT+PULSE=")] == 'Y')
		{
			is_pulse_tracker = true;
		}
		else if (buf[strlen("AT+PULSE=")] == 'n' || buf[strlen("AT+PULSE=")] == 'N')
		{
			is_pulse_tracker = false;
		}
		else
		{
			LOG_ERR("buf=%s \n", buf);
			return at_cmd_custom_respond(buf, len, "+CME ERROR: Value must be y or n \r\n");
		}

		LOG_INF("is_pulse_tracker=%d \n", is_pulse_tracker);

		device_type_t device_type = is_pulse_tracker ? DEVICE_TYPE_PULSE_TRACKER : DEVICE_TYPE_MAGNETOMETER;
		flash_status = FlashUtility_SaveDeviceType(device_type);
		if (flash_status == FlashStatus_Success)
		{
			return at_cmd_custom_respond(buf, len, "OK\r\n");
		}
		else
		{
			LOG_ERR("FlashUtility_SaveDeviceType failed status=%d \n", flash_status);
			return at_cmd_custom_respond(buf, len, "ERROR\r\n");
		}
	}

	/* read */
	if (strncmp("AT+PULSE?", at_cmd, strlen("AT+PULSE?")) == 0)
	{
		return at_cmd_custom_respond(buf, len, "Set (y/n)and read the device type (pulse tracker or magnetometer)\r\n");
	}

	return -1;
}

static int devicetype_callback(char *buf, size_t len, char *at_cmd)
{
	LOG_INF("at_cmd=%s buf=%s len=%d strlen=%d \n", at_cmd, buf, len, strlen(buf));
	device_type_t device_type;
	FlashStatus_t flash_status;

	/* test - query current device type */
	if (strncmp("AT+DEVICETYPE=?", at_cmd, strlen("AT+DEVICETYPE=?")) == 0)
	{
		flash_status = FlashUtility_LoadDeviceType(&device_type);
		if (flash_status == FlashStatus_Success || flash_status == FlashStatus_NoData)
		{
			LOG_INF("current device_type=%d \n", device_type);
			return at_cmd_custom_respond(buf, len, "+DEVICETYPE: %d\r\nOK\r\n", device_type);
		}
		else
		{
			LOG_ERR("FlashUtility_LoadDeviceType failed status=%d \n", flash_status);
			return at_cmd_custom_respond(buf, len, "ERROR\r\n");
		}
	}

	/* set device type */
	if (strncmp("AT+DEVICETYPE=", at_cmd, strlen("AT+DEVICETYPE=")) == 0)
	{
		// Get device type value from the buf
		if (strlen(buf) - strlen("AT+DEVICETYPE=") != 1)
		{
			LOG_ERR("buf=%s \n", buf);
			return at_cmd_custom_respond(buf, len, "+CME ERROR: Value wrong size must be 1 digit\r\n");
		}

		char type_char = buf[strlen("AT+DEVICETYPE=")];
		if (type_char == '0')
		{
			device_type = DEVICE_TYPE_MAGNETOMETER;
		}
		else if (type_char == '1')
		{
			device_type = DEVICE_TYPE_PULSE_TRACKER;
		}
		else if (type_char == '2')
		{
			device_type = DEVICE_TYPE_SENSUS_PROTOCOL;
		}
		else
		{
			LOG_ERR("buf=%s \n", buf);
			return at_cmd_custom_respond(buf, len, "+CME ERROR: Value must be 0 (Magnetometer), 1 (Pulse Tracker), or 2 (Sensus Protocol)\r\n");
		}

		LOG_INF("Setting device_type=%d \n", device_type);

		// Set the device type (this will reboot the device)
		app_set_device_type(device_type);

		// Note: Device will reboot, so this response may not be seen
		return at_cmd_custom_respond(buf, len, "OK - Rebooting to apply device type\r\n");
	}

	/* help */
	if (strncmp("AT+DEVICETYPE?", at_cmd, strlen("AT+DEVICETYPE?")) == 0)
	{
		return at_cmd_custom_respond(buf, len,
																 "Set and read device type:\r\n"
																 "0 = Magnetometer\r\n"
																 "1 = Pulse Tracker\r\n"
																 "2 = Sensus Protocol\r\n"
																 "Usage: AT+DEVICETYPE=<0|1|2>\r\n"
																 "Query: AT+DEVICETYPE=?\r\n");
	}

	return -1;
}

static int disable_callback(char *buf, size_t len, char *at_cmd)
{
	LOG_INF("at_cmd=%s buf=%s len=%d strlen=%d \n", at_cmd, buf, len, strlen(buf));

	/* test - query current disable state */
	if (strncmp("AT+DISABLE=?", at_cmd, strlen("AT+DISABLE=?")) == 0)
	{
		// You can implement a function to check if device is disabled
		// For now, returning a placeholder response
		return at_cmd_custom_respond(buf, len, "+DISABLE: 0\r\nOK\r\n");
	}

	/* set disable state */
	if (strncmp("AT+DISABLE=", at_cmd, strlen("AT+DISABLE=")) == 0)
	{
		// Get disable value from the buf
		if (strlen(buf) - strlen("AT+DISABLE=") != 1)
		{
			LOG_ERR("buf=%s \n", buf);
			return at_cmd_custom_respond(buf, len, "+CME ERROR: Value wrong size must be 1 digit\r\n");
		}

		char disable_char = buf[strlen("AT+DISABLE=")];
		if (disable_char == '0')
		{
			LOG_INF("Enabling device\r\n");
			// Add your enable logic here
			// This could involve starting sensors, enabling communications, etc.
			return at_cmd_custom_respond(buf, len, "OK - Device enabled\r\n");
		}
		else if (disable_char == '1')
		{
			LOG_INF("Disabling device\r\n");
			// Add your disable logic here
			// This could involve stopping sensors, disabling communications, etc.
			return at_cmd_custom_respond(buf, len, "OK - Device disabled\r\n");
		}
		else
		{
			LOG_ERR("buf=%s \n", buf);
			return at_cmd_custom_respond(buf, len, "+CME ERROR: Value must be 0 (enable) or 1 (disable)\r\n");
		}
	}

	/* help */
	if (strncmp("AT+DISABLE?", at_cmd, strlen("AT+DISABLE?")) == 0)
	{
		return at_cmd_custom_respond(buf, len,
																 "Enable or disable the device:\r\n"
																 "0 = Enable device\r\n"
																 "1 = Disable device\r\n"
																 "Usage: AT+DISABLE=<0|1>\r\n"
																 "Query: AT+DISABLE=?\r\n");
	}

	return -1;
}

static int logging_callback(char *buf, size_t len, char *at_cmd)
{
	LOG_INF("at_cmd=%s buf=%s len=%d strlen=%d \n", at_cmd, buf, len, strlen(buf));

	/* test - query current logging state */
	if (strncmp("AT+LOGGING=?", at_cmd, strlen("AT+LOGGING=?")) == 0)
	{
		bool logging_enabled = log_handler_is_enabled();
		LOG_INF("current logging_enabled=%d \n", logging_enabled);
		return at_cmd_custom_respond(buf, len, "+LOGGING: %d\r\nOK\r\n", logging_enabled ? 1 : 0);
	}

	/* set logging state */
	if (strncmp("AT+LOGGING=", at_cmd, strlen("AT+LOGGING=")) == 0)
	{
		// Get logging value from the buf
		if (strlen(buf) - strlen("AT+LOGGING=") != 1)
		{
			LOG_ERR("buf=%s \n", buf);
			return at_cmd_custom_respond(buf, len, "+CME ERROR: Value wrong size must be 1 digit\r\n");
		}

		char logging_char = buf[strlen("AT+LOGGING=")];
		bool enabled;
		if (logging_char == '0')
		{
			enabled = false;
		}
		else if (logging_char == '1')
		{
			enabled = true;
		}
		else
		{
			LOG_ERR("buf=%s \n", buf);
			return at_cmd_custom_respond(buf, len, "+CME ERROR: Value must be 0 (disable) or 1 (enable)\r\n");
		}

		// Important log line for provisioning script, the OK later will not go through if UART is disabled
		LOG_INF("OK - Setting logging_enabled=%d \n", enabled);

		int result = log_handler_set_enabled(enabled);
		if (result == 0)
		{
			if (enabled)
			{
				return at_cmd_custom_respond(buf, len, "OK - Logging enabled\r\n");
			}
			else
			{
				return at_cmd_custom_respond(buf, len, "OK - Logging disabled\r\n");
			}
		}
		else
		{
			return at_cmd_custom_respond(buf, len, "ERROR - Failed to set logging state\r\n");
		}
	}

	/* help */
	if (strncmp("AT+LOGGING?", at_cmd, strlen("AT+LOGGING?")) == 0)
	{
		return at_cmd_custom_respond(buf, len,
																 "Enable or disable algorithm logging:\r\n"
																 "0 = Disable logging (saves power)\r\n"
																 "1 = Enable logging\r\n"
																 "Usage: AT+LOGGING=<0|1>\r\n"
																 "Query: AT+LOGGING=?\r\n");
	}

	return -1;
}
```

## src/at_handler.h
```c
#ifndef AT_HANDLER_H
#define AT_HANDLER_H

/**
 * @brief AT commands supported:
 *
 * AT+DEVICEID=<id>      - Set the device ID (up to 16 characters)
 * AT+DEVICEID?          - Get information about the device ID command
 * AT+DEVICEID=?         - Test the device ID functionality
 *
 * AT+PROVISIONED=<0|1>  - Set the provisioning state (0=not provisioned, 1=provisioned)
 * AT+PROVISIONED?       - Get information about the provisioning command
 * AT+PROVISIONED=?      - Test the provisioning functionality
 *
 * AT+PULSE=<y|n>        - Set the device type (y=pulse tracker, n=magnetometer)
 * AT+PULSE?             - Get information about the pulse command
 * AT+PULSE=?            - Test the pulse functionality
 */

#endif
```

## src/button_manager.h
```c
#ifndef BUTTON_MANAGER_H
#define BUTTON_MANAGER_H

#include <zephyr/kernel.h>
#include <zephyr/device.h>
#include <zephyr/drivers/gpio.h>

#define QUICK_PRESS_MAX_DURATION_MS 1000
#define LONG_PRESS_TIMEOUT_MS_DISABLE 6000
#define LONG_PRESS_TIMEOUT_MS_ENABLE 3000

typedef void (*device_action_t)(void);

void button_manager_init(device_action_t enable_func, device_action_t disable_func);

#endif /* BUTTON_MANAGER_H */
```

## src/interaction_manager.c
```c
#include <zephyr/kernel.h>
#include "app.h"
#include "interaction_manager.h"
#include "led_manager.h"
#include "buzzer.h"
#include "cloud.h"

#include <zephyr/logging/log.h>
LOG_MODULE_REGISTER(interaction_manager, CONFIG_APP_LOG_LEVEL);

extern bool device_enabled;

void interaction_manager_init(void)
{
    buzzer_init();
}

void interaction_manager_device_enabled(void)
{
    // Visual feedback
    led_manager_led_on_for(LED_SUCCESS_DEVICE_ENABLED_DURATION_MS, LED_SUCCESS);

    // Audio feedback - longer beep for enable
    play_tone_async(2000);
}

void interaction_manager_device_disabled(void)
{
    // Visual feedback
    led_manager_led_on_for(LED_ERROR_DEVICE_DISABLED_DURATION_MS, LED_ERROR);

    // Audio feedback - longer tone for disable
    play_tone_async(5000);
}

void interaction_manager_quick_press(void)
{
    if (!device_enabled)
    {
        LOG_INF("Device is disabled, skipping data upload");
        led_manager_led_on_for(LED_ERROR_DEVICE_IS_DISABLED_DURATION_MS, LED_ERROR);
        play_beeps_async(5, 100, 100); // Three beeps for error
        return;
    }

    int err = app_queue_data();
    if (err < 0)
    {
        LOG_ERR("Failed to queue data after quick press, err %d", err);
    }

    // quick beep to show trying

    err = cloud_send_data_now();
    if (err == 0)
    {
        // Data sent successfully
        led_manager_led_on_for(LED_SUCCESS_DURATION_MS, LED_SUCCESS);
        play_beeps_async(1, 100, 100);
    }
    else if (err == -ENOTCONN)
    {
        // Device is connecting
        led_manager_led_on_for(LED_SUCCESS_DEVICE_CONNECTING_DURATION_MS, LED_SUCCESS);
        play_beeps_async(1, 1000, 100);
    }
}
```

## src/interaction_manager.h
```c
#ifndef __INTERACTION_MANAGER_H__
#define __INTERACTION_MANAGER_H__

#include <stdint.h>

void interaction_manager_init(void);

// Device state change feedback
void interaction_manager_device_enabled(void);
void interaction_manager_device_disabled(void);

// Quick press handling
void interaction_manager_quick_press(void);

#endif // __INTERACTION_MANAGER_H__
```
